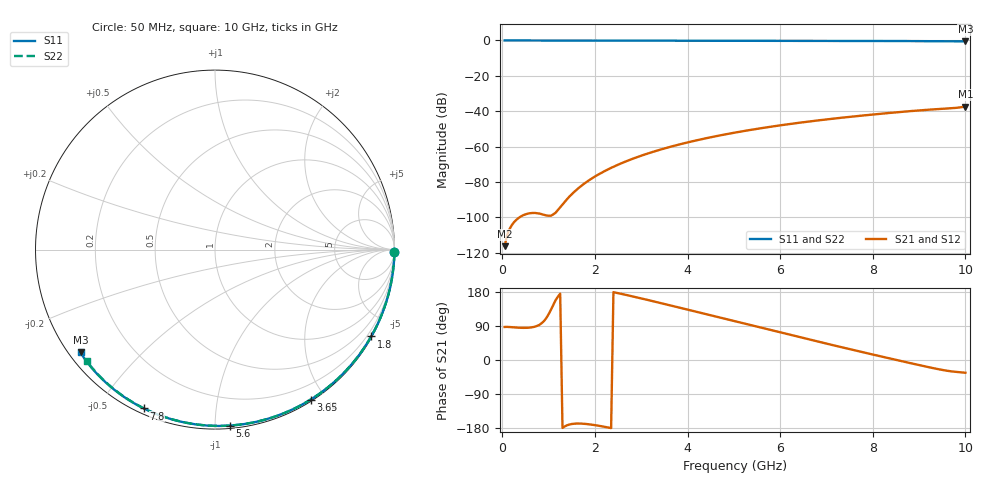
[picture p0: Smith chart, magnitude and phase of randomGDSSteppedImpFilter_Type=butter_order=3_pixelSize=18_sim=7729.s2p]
! freq	dB(S11)	phase(S11)	dB(S12)	phase(S12)
!  dB(S21)	phase(S21)	dB(S22)	phase(S22)
!S-par simulation data
#  GHz  S  DB  R 50
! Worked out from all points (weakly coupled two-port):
!   200 points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, 50 MHz to 10 GHz, reference 50 ohm
!   highest |S21| = -37.39 dB at 10 GHz (marker M1); lowest = -116.4 dB at 50 MHz (marker M2)
!   lowest |S11| = -0.5 dB at 10 GHz (marker M3), VSWR 34.01, Z = 1.64 - j16.9 ohm
!   |S11| at or under -10 dB: nowhere
!   |S22| runs from -0.5 to 0.0 dB; largest |S21 - S12| = 0
!   S11 on the Smith chart (normalised r, x): 50 MHz: open; 1.8 GHz: 0.03, -3.86; 3.65 GHz: 0.02, -1.82; 5.6 GHz: 0.02, -1.09; 7.8 GHz: 0.02, -0.65; 10 GHz: 0.03, -0.34
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0.05  -0.00 -0.8  -116.38 87.2  -116.38 87.2  -0.00 -0.8
0.5  -0.01 -8.2  -98.39 84.9  -98.39 84.9  -0.01 -8.0
0.9  -0.02 -14.7  -98.63 102.7  -98.63 102.7  -0.02 -14.4
1.75  -0.04 -28.3  -81.38 -168.2  -81.38 -168.2  -0.04 -27.7
1.8  -0.04 -29.1  -80.42 -168.7  -80.42 -168.7  -0.04 -28.5
1.85  -0.04 -29.8  -79.51 -169.3  -79.51 -169.3  -0.04 -29.3
2.05  -0.04 -33.0  -76.21 -172.8  -76.21 -172.8  -0.04 -32.4
2.2  -0.05 -35.3  -74.05 -176.1  -74.05 -176.1  -0.04 -34.7
2.55  -0.05 -40.8  -69.71 175.1  -69.71 175.1  -0.05 -40.0
2.95  -0.06 -46.9  -65.65 164.0  -65.65 164.0  -0.06 -46.1
3.4  -0.07 -53.7  -61.86 150.8  -61.86 150.8  -0.07 -52.7
3.65  -0.08 -57.5  -60.02 143.4  -60.02 143.4  -0.08 -56.4
4.3  -0.09 -67.0  -55.89 123.9  -55.89 123.9  -0.09 -65.8
5.05  -0.12 -77.6  -52.00 101.3  -52.00 101.3  -0.12 -76.2
5.6  -0.14 -85.2  -49.60 84.7  -49.60 84.7  -0.14 -83.7
6.15  -0.16 -92.7  -47.48 68.3  -47.48 68.3  -0.16 -91.0
6.7  -0.19 -100.0  -45.61 52.0  -45.61 52.0  -0.19 -98.2
7.8  -0.26 -114.2  -42.42 20.1  -42.42 20.1  -0.26 -112.1
8.35  -0.31 -121.1  -41.04 4.6  -41.04 4.6  -0.31 -118.9
9.3  -0.40 -133.2  -39.00 -21.4  -39.00 -21.4  -0.39 -130.5
9.8  -0.46 -139.8  -38.12 -31.4  -38.12 -31.4  -0.45 -136.5
10  -0.51 -142.6  -37.39 -33.6  -37.39 -33.6  -0.47 -138.9
